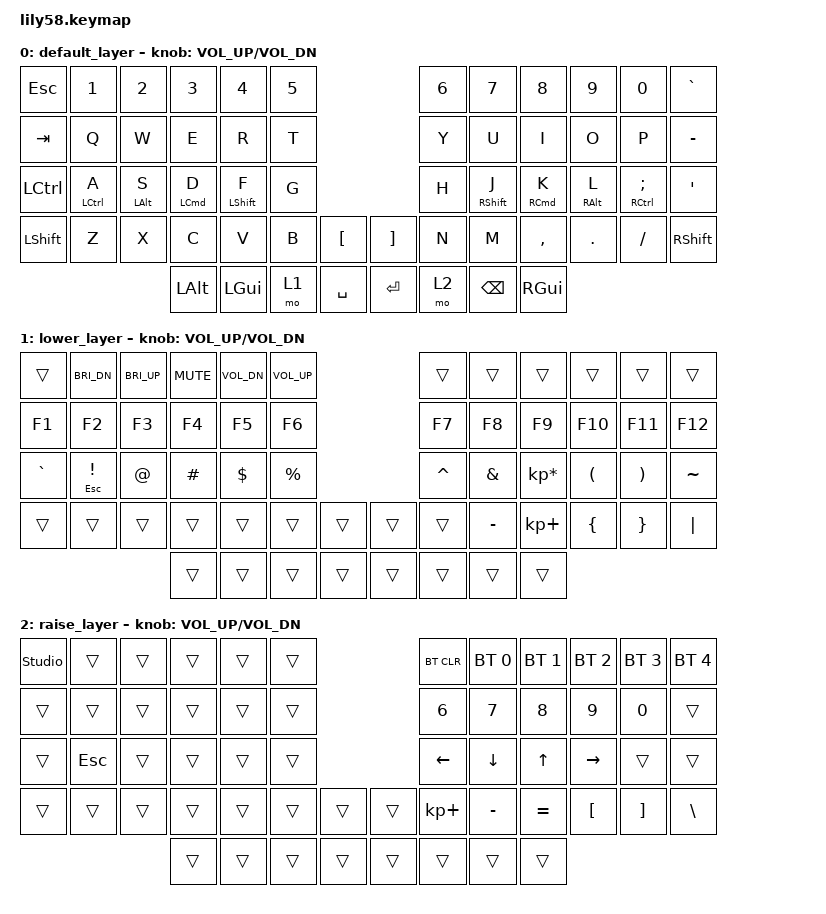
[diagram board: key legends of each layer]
/*
 * Copyright (c) 2020 The ZMK Contributors
 *
 * SPDX-License-Identifier: MIT
 */

#include <behaviors.dtsi>
#include <dt-bindings/zmk/bt.h>
#include <dt-bindings/zmk/keys.h>

/ {
    combos {
        compatible = "zmk,combos";

        capsword {
            bindings = <&caps_word>;
            key-positions = <36 49>;
        };

        jk_esc {
            bindings = <&kp ESC>;
            key-positions = <31 32>;
        };

        left_bracket {
            bindings = <&kp LEFT_BRACKET>;
            key-positions = <19 20>;
        };

        right_bracket {
            bindings = <&kp RIGHT_BRACKET>;
            key-positions = <20 21>;
        };

        caps_word_home {
            bindings = <&caps_word>;
            key-positions = <28 31>;
            require-prior-idle-ms = <150>;
        };
    };

    behaviors {
        shift_key_home_mod: shift_key_home_mod {
            compatible = "zmk,behavior-hold-tap";
            label = "SHIFT_KEY_HOME_MOD";
            bindings = <&kp>, <&kp>;

            #binding-cells = <2>;
            tapping-term-ms = <200>;
            flavor = "balanced";
            require-prior-idle-ms = <110>;
            quick-tap-ms = <175>;
        };

        mod_key_home_row: mod_key_home_row {
            compatible = "zmk,behavior-hold-tap";
            label = "MOD_KEY_HOME_ROW";
            bindings = <&kp>, <&kp>;

            #binding-cells = <2>;
            tapping-term-ms = <200>;
            flavor = "balanced";
            require-prior-idle-ms = <110>;
            quick-tap-ms = <175>;
        };
    };

    keymap {
        compatible = "zmk,keymap";

        default_layer {
            // ------------------------------------------------------------------------------------------------------------
            // |  ESC  |  1  |  2  |  3   |  4   |  5   |                   |  6   |  7    |  8    |  9   |   0   |   `   |
            // |  TAB  |  Q  |  W  |  E   |  R   |  T   |                   |  Y   |  U    |  I    |  O   |   P   |   -   |
            // |  CTRL |  A  |  S  |  D   |  F   |  G   |                   |  H   |  J    |  K    |  L   |   ;   |   '   |
            // | SHIFT |  Z  |  X  |  C   |  V   |  B   |   "["  |  |  "]"  |  N   |  M    |  ,    |  .   |   /   | SHIFT |
            //                     | ALT  | GUI  | LOWER|  SPACE |  | ENTER | RAISE| BSPC  | GUI   |

            bindings = <
&kp ESC    &kp N1                            &kp N2                        &kp N3                            &kp N4                            &kp N5                         &kp N6  &kp N7                             &kp N8                             &kp N9                         &kp N0                                &kp GRAVE
&kp TAB    &kp Q                             &kp W                         &kp E                             &kp R                             &kp T                          &kp Y   &kp U                              &kp I                              &kp O                          &kp P                                 &kp MINUS
&kp LCTRL  &mod_key_home_row LEFT_CONTROL A  &mod_key_home_row LEFT_ALT S  &mod_key_home_row LEFT_COMMAND D  &shift_key_home_mod LEFT_SHIFT F  &kp G                          &kp H   &shift_key_home_mod RIGHT_SHIFT J  &mod_key_home_row RIGHT_COMMAND K  &mod_key_home_row RIGHT_ALT L  &mod_key_home_row RIGHT_CONTROL SEMI  &kp SQT
&kp LSHFT  &kp Z                             &kp X                         &kp C                             &kp V                             &kp B   &kp LBKT     &kp RBKT  &kp N   &kp M                              &kp COMMA                          &kp DOT                        &kp FSLH                              &kp RSHFT
                                                                           &kp LALT                          &kp LGUI                          &mo 1   &kp SPACE    &kp RET   &mo 2   &kp BSPC                           &kp RGUI
            >;

            sensor-bindings = <&inc_dec_kp C_VOL_UP C_VOL_DN>;
        };

        lower_layer {
            // --------------------------------------------------------------------------------------------------------------
            // | LPAD  | BRDn | BRUp |  MUT |  Vo- |  Vo+ |                   |      |       |       |      |       |       |
            // |  F1   |  F2  |  F3  |  F4  |  F5  |  F6  |                   |  F7  |  F8   |  F9   |  F10 |  F11  |  F12  |
            // |   `   |  !   |  @   |  #   |  $   |  %   |                   |  ^   |  &    |  *    |  (   |   )   |   ~   |
            // |       |      |      |      |      |      |        |  |       |      |  _    |  +    |  {   |   }   |  "|"  |
            //                       |      |      |      |        |  |       |      |       |       |

            bindings = <
&trans     &kp C_BRI_DN                   &kp C_BRI_UP  &kp C_MUTE  &kp C_VOL_DN  &kp C_VOL_UP                    &trans     &trans     &trans           &trans    &trans    &trans
&kp F1     &kp F2                         &kp F3        &kp F4      &kp F5        &kp F6                          &kp F7     &kp F8     &kp F9           &kp F10   &kp F11   &kp F12
&kp GRAVE  &mod_key_home_row ESCAPE EXCL  &kp AT        &kp HASH    &kp DOLLAR    &kp PRCNT                       &kp CARET  &kp AMPS   &kp KP_MULTIPLY  &kp LPAR  &kp RPAR  &kp TILDE
&trans     &trans                         &trans        &trans      &trans        &trans        &trans    &trans  &trans     &kp MINUS  &kp KP_PLUS      &kp LBRC  &kp RBRC  &kp PIPE
                                                        &trans      &trans        &trans        &trans    &trans  &trans     &trans     &trans
            >;

            sensor-bindings = <&inc_dec_kp C_VOL_UP C_VOL_DN>;
        };

        raise_layer {
            // ------------------------------------------------------------------------------------------------------------
            // |       |     |     |      |      |      |                   |      |       |       |      |       |       |
            // |   `   |  1  |  2  |  3   |  4   |  5   |                   |  6   |   7   |   8   |  9   |   0   |       |
            // |   F1  |  F2 |  F3 |  F4  |  F5  |  F6  |                   |      |   <-  |   v   |  ^   |  ->   |       |
            // |   F7  |  F8 |  F9 |  F10 |  F11 |  F12 |        |  |       |  +   |   -   |   =   |  [   |   ]   |   \   |
            //                     |      |      |      |        |  |       |      |       |       |

            bindings = <
&studio_unlock  &trans   &trans  &trans  &trans  &trans                    &bt BT_CLR   &bt BT_SEL 0  &bt BT_SEL 1  &bt BT_SEL 2  &bt BT_SEL 3  &bt BT_SEL 4
&trans          &trans   &trans  &trans  &trans  &trans                    &kp N6       &kp N7        &kp N8        &kp N9        &kp N0        &trans
&trans          &kp ESC  &trans  &trans  &trans  &trans                    &kp LEFT     &kp DOWN      &kp UP_ARROW  &kp RIGHT     &trans        &trans
&trans          &trans   &trans  &trans  &trans  &trans  &trans    &trans  &kp KP_PLUS  &kp MINUS     &kp EQUAL     &kp LBKT      &kp RBKT      &kp BSLH
                                 &trans  &trans  &trans  &trans    &trans  &trans       &trans        &trans
            >;

            sensor-bindings = <&inc_dec_kp C_VOL_UP C_VOL_DN>;
        };
    };
};
